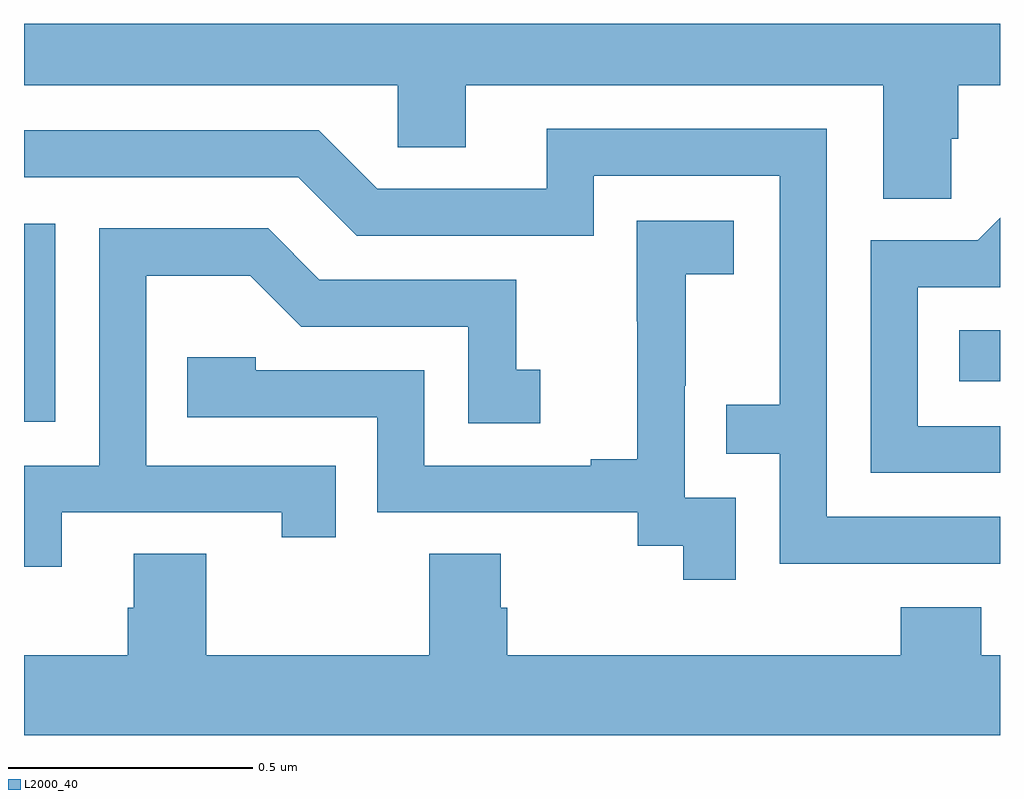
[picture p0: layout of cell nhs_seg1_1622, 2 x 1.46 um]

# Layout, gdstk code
import gdstk
lib = gdstk.Library(unit=1e-6, precision=1e-09)
def R(c, l, rs):  # rectangles x0, y0, x1, y1
    for r in rs: c.add(gdstk.rectangle(r[:2], r[2:], *l))
def P(c, l, *ps):  # polygons
    for p in ps: c.add(gdstk.Polygon(p, *l))
L2000_40 = (2000, 40)

nhs_seg1_1622 = lib.new_cell('nhs_seg1_1622')
R(nhs_seg1_1622, L2000_40, [(131,544.383,131.064,544.789), (132.916,544.466,133,544.57)])
P(nhs_seg1_1622, L2000_40, [(132.9,544.963),(132.914,544.963),(132.914,545.072),(133,545.072),(133,545.199),(131,545.199),(131,545.072),(131.766,545.072),(131.766,544.945),(131.905,544.945),(131.905,545.072),(132.761,545.072),(132.761,544.84),(132.9,544.84)],
  [(133,544.188),(132.645,544.188),(132.645,544.983),(132.071,544.983),(132.071,544.86),(131.724,544.86),(131.604,544.98),(131,544.98),(131,544.884),(131.562,544.884),(131.682,544.764),(132.168,544.764),(132.168,544.887),(132.549,544.887),(132.549,544.418),(132.439,544.418),(132.439,544.317),(132.549,544.317),(132.549,544.092),(133,544.092)],
  [(133,544.374),(132.831,544.374),(132.831,544.659),(133,544.659),(133,544.801),(132.954,544.755),(132.735,544.755),(132.735,544.278),(133,544.278)],
  [(132.459,544.227),(132.354,544.227),(132.354,544.457),(132.356,544.457),(132.356,544.685),(132.454,544.685),(132.454,544.795),(132.256,544.795),(132.256,544.589),(132.257,544.589),(132.257,544.306),(132.161,544.306),(132.161,544.293),(131.82,544.293),(131.82,544.488),(131.475,544.488),(131.475,544.515),(131.335,544.515),(131.335,544.392),(131.724,544.392),(131.724,544.197),(132.258,544.197),(132.258,544.129),(132.351,544.129),(132.351,544.059),(132.459,544.059)],
  [(131.077,544.197),(131.528,544.197),(131.528,544.146),(131.639,544.146),(131.639,544.293),(131.25,544.293),(131.25,544.682),(131.464,544.682),(131.568,544.578),(131.91,544.578),(131.91,544.38),(132.058,544.38),(132.058,544.489),(132.009,544.489),(132.009,544.674),(131.605,544.674),(131.5,544.779),(131.154,544.779),(131.154,544.293),(131,544.293),(131,544.086),(131.077,544.086)],
  [(133,543.904),(132.962,543.904),(132.962,544.003),(132.797,544.003),(132.797,543.904),(131.99,543.904),(131.99,544.002),(131.977,544.002),(131.977,544.112),(131.83,544.112),(131.83,543.904),(131.373,543.904),(131.373,544.112),(131.225,544.112),(131.225,544.002),(131.213,544.002),(131.213,543.904),(131,543.904),(131,543.74),(133,543.74)])

lib.write_gds('nhs_seg1_1622.gds')
